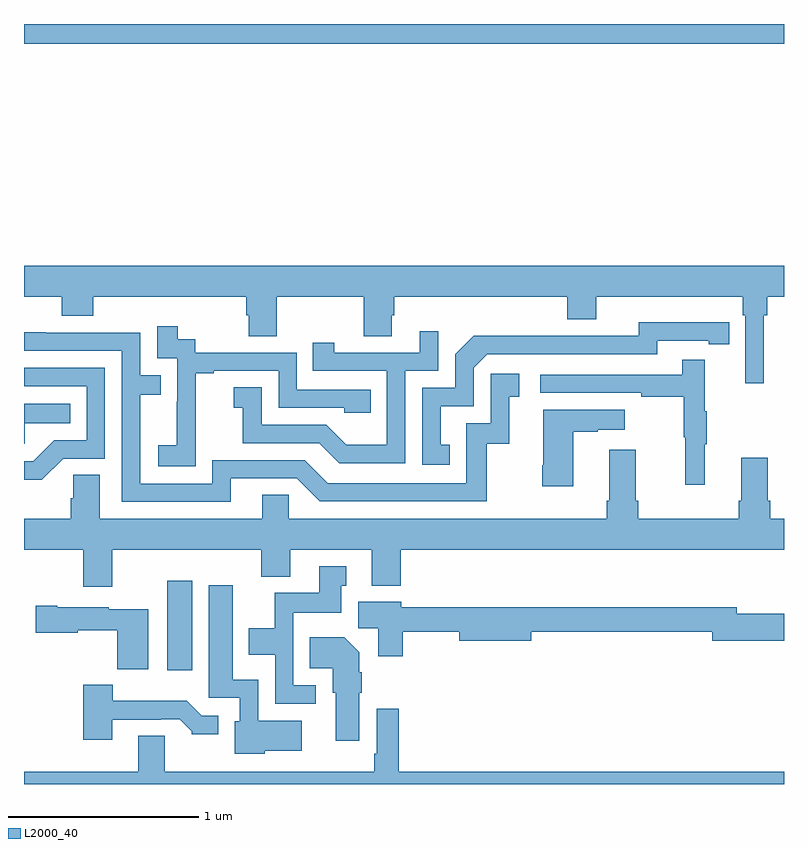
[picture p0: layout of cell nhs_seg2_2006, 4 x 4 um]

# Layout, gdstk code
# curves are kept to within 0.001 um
import gdstk
lib = gdstk.Library(unit=1e-6, precision=1e-09)
def R(c, l, rs):  # rectangles x0, y0, x1, y1
    for r in rs: c.add(gdstk.rectangle(r[:2], r[2:], *l))
def P(c, l, *ps):  # polygons
    for p in ps: c.add(gdstk.Polygon(p, *l))
L2000_40 = (2000, 40)

nhs_seg2_2006 = lib.new_cell('nhs_seg2_2006')
R(nhs_seg2_2006, L2000_40, [(217.754,584.4,217.885,584.869), (217,587.696,221,587.8)])
P(nhs_seg2_2006, L2000_40, [(220.894,586.268),(220.913,586.268),(220.913,586.364),(221,586.364),(221,586.528),(217,586.528),(217,586.364),(217.199,586.364),(217.199,586.265),(217.364,586.265),(217.364,586.364),(218.171,586.364),(218.171,586.266),(218.183,586.266),(218.183,586.156),(218.331,586.156),(218.331,586.364),(218.788,586.364),(218.788,586.156),(218.935,586.156),(218.935,586.266),(218.948,586.266),(218.948,586.364),(219.86,586.364),(219.86,586.247),(220.012,586.247),(220.012,586.364),(220.784,586.364),(220.784,586.268),(220.797,586.268),(220.797,585.909),(220.894,585.909)],
  [(219.242,585.585),(219.193,585.585),(219.193,585.789),(219.366,585.789),(219.366,585.99),(219.438,586.062),(220.332,586.062),(220.332,586.134),(220.604,586.134),(220.604,586.114),(220.712,586.114),(220.712,586.23),(220.236,586.231),(220.236,586.158),(219.776,586.158),(219.776,586.16),(219.368,586.16),(219.27,586.062),(219.27,585.885),(219.096,585.885),(219.096,585.48),(219.242,585.48)],
  [(217.905,585.679),(217.904,585.679),(217.904,585.963),(217.999,585.963),(217.999,585.975),(218.34,585.975),(218.34,585.78),(218.685,585.78),(218.685,585.753),(218.825,585.753),(218.825,585.876),(218.436,585.876),(218.436,586.071),(217.902,586.071),(217.902,586.14),(217.81,586.14),(217.81,586.21),(217.701,586.21),(217.701,586.041),(217.806,586.041),(217.806,585.812),(217.805,585.812),(217.805,585.583),(217.707,585.583),(217.707,585.473),(217.905,585.473)],
  [(219.006,585.975),(219.18,585.975),(219.18,586.183),(219.083,586.183),(219.083,586.071),(218.632,586.071),(218.632,586.123),(218.521,586.123),(218.521,585.975),(218.91,585.975),(218.91,585.586),(218.696,585.586),(218.592,585.69),(218.25,585.69),(218.25,585.889),(218.103,585.889),(218.103,585.779),(218.152,585.779),(218.152,585.594),(218.555,585.594),(218.66,585.489),(219.006,585.489)],
  [(218.089,585.408),(218.436,585.408),(218.556,585.288),(219.436,585.288),(219.436,585.591),(219.554,585.591),(219.554,585.837),(219.607,585.837),(219.607,585.958),(219.456,585.958),(219.456,585.699),(219.327,585.699),(219.327,585.384),(218.598,585.384),(218.478,585.504),(217.992,585.504),(217.992,585.381),(217.611,585.381),(217.611,585.85),(217.721,585.85),(217.721,585.951),(217.611,585.951),(217.611,586.176),(217.115,586.176),(217.115,586.178),(217,586.178),(217,586.08),(217.515,586.08),(217.515,585.285),(218.089,585.285)],
  [(220.583,585.587),(220.594,585.587),(220.594,585.761),(220.583,585.761),(220.583,586.033),(220.465,586.033),(220.465,585.954),(219.717,585.954),(219.717,585.858),(220.249,585.858),(220.249,585.838),(220.473,585.838),(220.473,585.624),(220.48,585.624),(220.48,585.375),(220.583,585.375)],
  [(217.206,585.513),(217.425,585.513),(217.425,585.99),(217,585.99),(217,585.894),(217.329,585.894),(217.329,585.609),(217.16,585.609),(217.049,585.498),(217,585.498),(217,585.401),(217.093,585.401)],
  [(217.005,585.698),(217.244,585.698),(217.244,585.802),(217,585.802),(217,585.59),(217.005,585.59)],
  [(219.892,585.655),(220.019,585.655),(220.019,585.665),(220.162,585.665),(220.162,585.769),(219.734,585.769),(219.734,585.478),(219.727,585.478),(219.727,585.366),(219.892,585.366)],
  [(218.394,585.323),(218.255,585.323),(218.255,585.196),(217.399,585.196),(217.399,585.428),(217.26,585.428),(217.26,585.305),(217.247,585.305),(217.247,585.196),(217,585.196),(217,585.032),(217.313,585.032),(217.313,584.838),(217.465,584.838),(217.465,585.032),(218.249,585.032),(218.249,584.891),(218.401,584.891),(218.401,585.032),(218.831,585.032),(218.831,584.843),(218.984,584.843),(218.984,585.032),(221,585.032),(221,585.196),(220.928,585.196),(220.928,585.292),(220.915,585.292),(220.915,585.517),(220.775,585.517),(220.775,585.292),(220.763,585.292),(220.763,585.196),(220.232,585.196),(220.232,585.292),(220.219,585.292),(220.219,585.559),(220.079,585.559),(220.079,585.292),(220.067,585.292),(220.067,585.196),(218.394,585.196)],
  [(218.536,584.319),(218.418,584.319),(218.418,584.702),(218.671,584.702),(218.671,584.844),(218.695,584.844),(218.695,584.947),(218.555,584.947),(218.555,584.806),(218.32,584.806),(218.32,584.62),(218.183,584.62),(218.183,584.48),(218.322,584.48),(218.322,584.223),(218.536,584.223)],
  [(218.268,583.976),(218.461,583.976),(218.461,584.134),(218.232,584.134),(218.232,584.35),(218.098,584.35),(218.098,584.845),(217.973,584.845),(217.973,584.253),(218.136,584.253),(218.136,584.13),(218.108,584.13),(218.108,583.958),(218.268,583.958)],
  [(218.994,584.602),(219.29,584.602),(219.29,584.555),(219.67,584.555),(219.67,584.602),(220.622,584.602),(220.622,584.555),(221,584.555),(221,584.697),(220.75,584.697),(220.75,584.731),(218.986,584.731),(218.986,584.758),(218.759,584.758),(218.759,584.62),(218.864,584.62),(218.864,584.472),(218.994,584.472)],
  [(217.654,584.719),(217.446,584.719),(217.446,584.731),(217.174,584.731),(217.174,584.739),(217.062,584.739),(217.062,584.597),(217.284,584.597),(217.284,584.609),(217.492,584.609),(217.492,584.405),(217.654,584.405)],
  [(218.764,584.28),(218.777,584.28),(218.777,584.387),(218.764,584.387),(218.764,584.494),(218.686,584.572),(218.503,584.572),(218.503,584.408),(218.624,584.408),(218.624,584.28),(218.642,584.28),(218.642,584.028),(218.764,584.028)],
  [(217.465,584.139),(217.721,584.139),(217.721,584.142),(217.82,584.142),(217.884,584.078),(217.884,584.063),(218.023,584.063),(218.023,584.16),(217.935,584.16),(217.857,584.239),(217.468,584.239),(217.468,584.323),(217.313,584.323),(217.313,584.034),(217.465,584.034)],
  [(221,583.864),(218.972,583.864),(218.972,584.197),(218.856,584.197),(218.856,583.96),(218.844,583.96),(218.844,583.864),(217.741,583.864),(217.741,584.054),(217.601,584.054),(217.601,583.864),(217,583.864),(217,583.8),(221,583.8)])

lib.write_gds('nhs_seg2_2006.gds')
